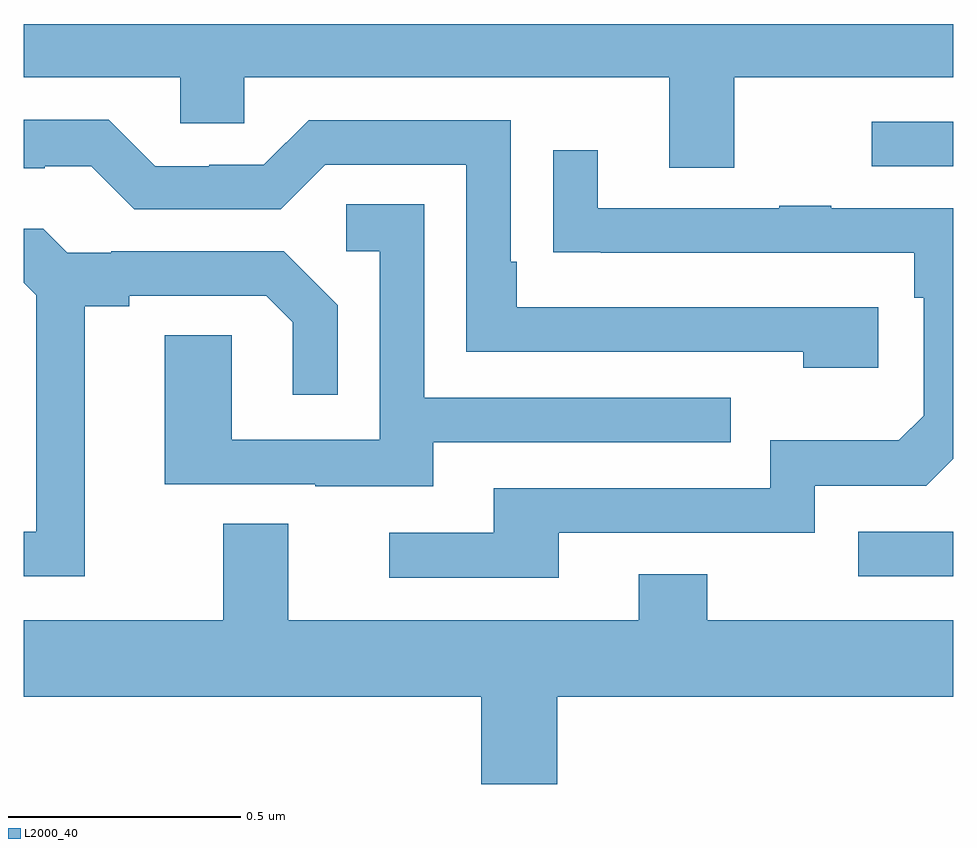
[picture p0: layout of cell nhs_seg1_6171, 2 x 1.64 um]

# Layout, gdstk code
import gdstk
lib = gdstk.Library(unit=1e-6, precision=1e-09)
def R(c, l, rs):  # rectangles x0, y0, x1, y1
    for r in rs: c.add(gdstk.rectangle(r[:2], r[2:], *l))
def P(c, l, *ps):  # polygons
    for p in ps: c.add(gdstk.Polygon(p, *l))
L2000_40 = (2000, 40)

nhs_seg1_6171 = lib.new_cell('nhs_seg1_6171')
R(nhs_seg1_6171, L2000_40, [(189.795,532.011,190,532.107), (189.825,532.893,190,532.989)])
P(nhs_seg1_6171, L2000_40, [(189.529,533.084),(190,533.084),(190,533.199),(188,533.199),(188,533.084),(188.337,533.084),(188.337,532.986),(188.475,532.986),(188.475,533.084),(189.389,533.084),(189.389,532.89),(189.529,532.89)],
  [(189.838,532.59),(189.061,532.59),(189.061,532.687),(189.048,532.687),(189.048,532.992),(188.613,532.992),(188.517,532.896),(188.399,532.896),(188.399,532.893),(188.283,532.893),(188.183,532.993),(188,532.993),(188,532.889),(188.045,532.889),(188.045,532.893),(188.145,532.893),(188.238,532.8),(188.553,532.8),(188.649,532.896),(188.952,532.896),(188.952,532.494),(189.677,532.494),(189.677,532.46),(189.838,532.46)],
  [(189.151,532.104),(189.702,532.104),(189.702,532.206),(189.942,532.206),(190,532.264),(190,532.803),(189.737,532.803),(189.737,532.808),(189.625,532.808),(189.625,532.803),(189.235,532.803),(189.235,532.927),(189.139,532.927),(189.139,532.708),(189.241,532.708),(189.241,532.707),(189.916,532.707),(189.916,532.61),(189.936,532.61),(189.936,532.356),(189.883,532.303),(189.606,532.303),(189.606,532.2),(189.011,532.2),(189.011,532.104),(188.787,532.104),(188.787,532.008),(189.151,532.008)],
  [(188.881,532.299),(189.521,532.299),(189.521,532.395),(188.862,532.395),(188.862,532.811),(188.694,532.811),(188.694,532.71),(188.766,532.71),(188.766,532.305),(188.448,532.305),(188.448,532.529),(188.303,532.529),(188.303,532.209),(188.627,532.209),(188.627,532.205),(188.881,532.205)],
  [(188.131,532.592),(188.227,532.592),(188.227,532.614),(188.522,532.614),(188.579,532.557),(188.579,532.401),(188.676,532.401),(188.676,532.594),(188.56,532.71),(188.188,532.71),(188.188,532.707),(188.094,532.707),(188.042,532.759),(188,532.759),(188,532.642),(188.027,532.615),(188.027,532.107),(188,532.107),(188,532.011),(188.131,532.011)],
  [(189.148,531.752),(190,531.752),(190,531.916),(189.471,531.916),(189.471,532.015),(189.323,532.015),(189.323,531.916),(188.569,531.916),(188.569,532.124),(188.429,532.124),(188.429,531.916),(188,531.916),(188,531.752),(188.984,531.752),(188.984,531.564),(189.148,531.564)])

lib.write_gds('nhs_seg1_6171.gds')
